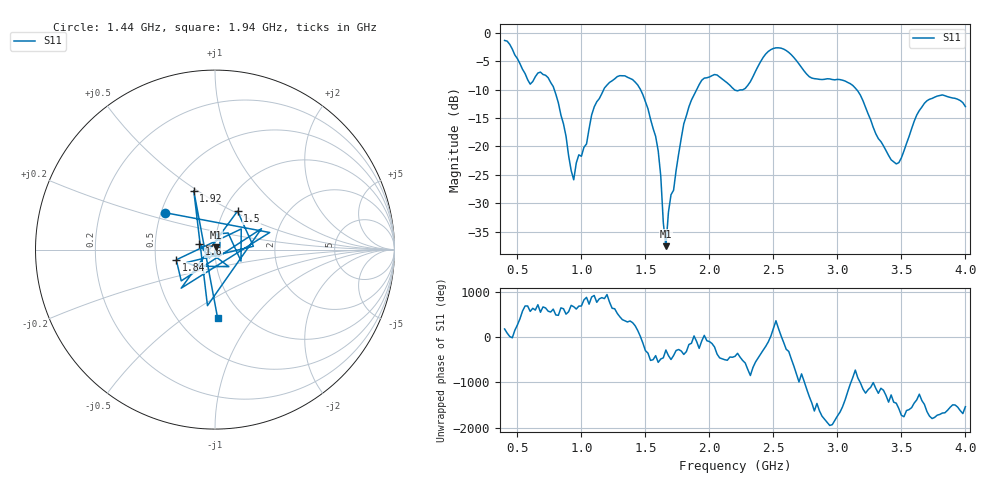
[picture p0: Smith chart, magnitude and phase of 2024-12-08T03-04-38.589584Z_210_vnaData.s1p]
!Created with skrf (http://scikit-rf.org).
# Hz S RI R 50.0
!freq ReS11 ImS11
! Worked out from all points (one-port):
!   181 points, 400 MHz to 4 GHz, reference 50 ohm
!   lowest |S11| = -37.5 dB at 1.66 GHz (marker M1), VSWR 1.03, Z = 50.4 + j1.28 ohm
!   |S11| at or under -10 dB: 788.1 MHz to 1.174 GHz (386.2 MHz wide, 39.4 % of centre); 1.462 GHz to 1.901 GHz (439 MHz wide, 26.1 % of centre); 3.15 GHz to end of sweep (the widest 3 of 4)
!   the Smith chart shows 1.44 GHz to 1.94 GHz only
!   S11 on the Smith chart (normalised r, x): 1.44 GHz: 0.52, +0.25; 1.5 GHz: 1.16, +0.53; 1.6 GHz: 0.84, +0.05; 1.84 GHz: 0.64, -0.08; 1.92 GHz: 0.65, +0.48; 1.94 GHz: 0.76, -0.68
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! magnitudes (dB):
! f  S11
! 400 MHz  -1.4
! 600 MHz  -9.0
! 740 MHz  -7.9
! 860 MHz  -16.0
! 940 MHz  -25.9
! 1.1 GHz  -13.1
! 1.3 GHz  -7.5
! 1.44 GHz  -9.2
! 1.5 GHz  -12.1
! 1.6 GHz  -20.8
! 1.66 GHz  -37.5
! 1.68 GHz  -31.6
! 1.76 GHz  -21.3
! 1.84 GHz  -13.0
! 1.92 GHz  -9.1
! 1.94 GHz  -8.4
! 2.06 GHz  -7.4
! 2.2 GHz  -10.1
! 2.28 GHz  -9.8
! 2.48 GHz  -3.0
! 2.66 GHz  -4.4
! 2.8 GHz  -8.0
! 3.1 GHz  -8.9
! 3.42 GHz  -22.4
! 3.48 GHz  -22.9
! 3.56 GHz  -18.2
! 3.72 GHz  -11.7
! 4 GHz  -13.0
